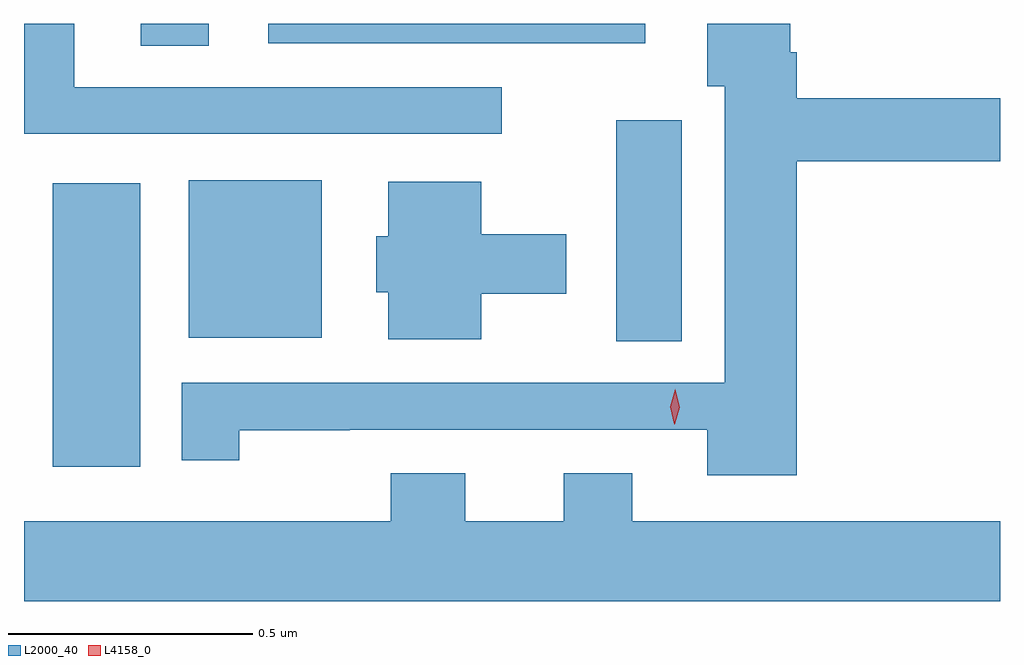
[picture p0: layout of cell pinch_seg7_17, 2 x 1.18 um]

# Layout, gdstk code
import gdstk
lib = gdstk.Library(unit=1e-6, precision=1e-09)
def R(c, l, rs):  # rectangles x0, y0, x1, y1
    for r in rs: c.add(gdstk.rectangle(r[:2], r[2:], *l))
def P(c, l, *ps):  # polygons
    for p in ps: c.add(gdstk.Polygon(p, *l))
L2000_40 = (2000, 40)
L4158_0 = (4158, 0)

pinch_seg7_17 = lib.new_cell('pinch_seg7_17')
R(pinch_seg7_17, L2000_40, [(1024.667,1063.496,1024.846,1064.077), (1025.822,1063.753,1025.956,1064.206), (1024.946,1063.76,1025.218,1064.083), (1024.847,1064.359,1024.987,1064.404), (1025.109,1064.364,1025.881,1064.404)])
P(pinch_seg7_17, L2000_40, [(1025.587,1064.274),(1024.711,1064.274),(1024.711,1064.404),(1024.608,1064.404),(1024.608,1064.178),(1025.587,1064.178)],
  [(1026.191,1064.122),(1026.608,1064.122),(1026.608,1064.251),(1026.191,1064.251),(1026.191,1064.345),(1026.178,1064.345),(1026.178,1064.404),(1026.008,1064.404),(1026.008,1064.276),(1026.044,1064.276),(1026.044,1063.668),(1024.931,1063.668),(1024.931,1063.509),(1025.049,1063.509),(1025.049,1063.571),(1025.276,1063.571),(1025.276,1063.572),(1026.008,1063.572),(1026.008,1063.478),(1026.191,1063.478)],
  [(1025.545,1063.85),(1025.719,1063.85),(1025.719,1063.972),(1025.545,1063.972),(1025.545,1064.08),(1025.354,1064.08),(1025.354,1063.968),(1025.33,1063.968),(1025.33,1063.854),(1025.354,1063.854),(1025.354,1063.757),(1025.545,1063.757)],
  [(1026.608,1063.384),(1025.854,1063.384),(1025.854,1063.483),(1025.714,1063.483),(1025.714,1063.384),(1025.512,1063.384),(1025.512,1063.483),(1025.36,1063.483),(1025.36,1063.384),(1024.608,1063.384),(1024.608,1063.22),(1026.608,1063.22)])
P(pinch_seg7_17, L4158_0, [(1025.94,1063.583),(1025.94,1063.583),(1025.932,1063.619),(1025.943,1063.655),(1025.943,1063.655),(1025.943,1063.655),(1025.952,1063.618),(1025.941,1063.583)])

lib.write_gds('pinch_seg7_17.gds')
